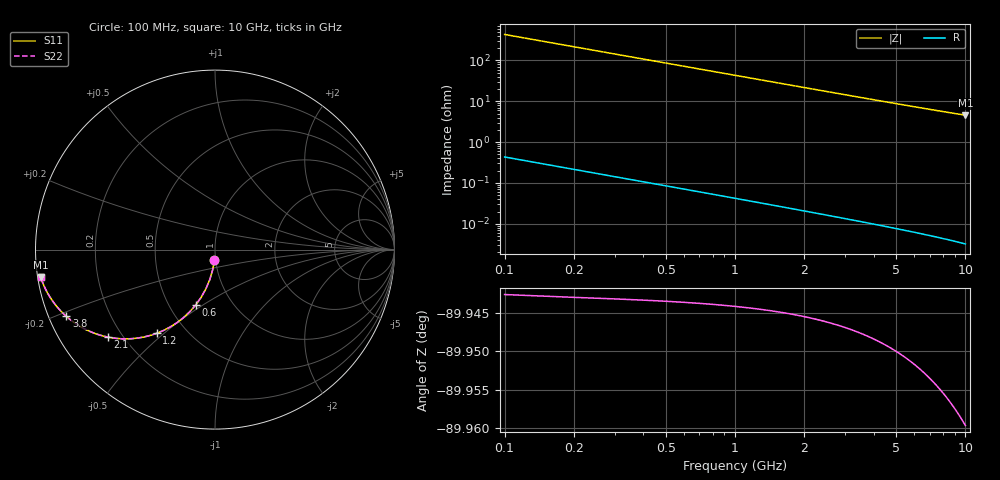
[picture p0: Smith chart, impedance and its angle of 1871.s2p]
# Hz S RI R 50.00
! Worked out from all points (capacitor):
!   100 points, 100 MHz to 10 GHz, reference 50 ohm
!   read as one part in shunt: C = 3.68 pF near 100 MHz
!   lowest |Z| = 4.57 ohm at 10 GHz (marker M1)
!   S11 on the Smith chart (normalised r, x): 100 MHz: 0.99, -0.11; 600 MHz: 0.68, -0.47; 1.2 GHz: 0.34, -0.47; 2.1 GHz: 0.15, -0.35; 3.8 GHz: 0.05, -0.21; 10 GHz: 0.01, -0.08
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1e8  -0.00334 -0.0575  0.9966 -0.0577  0.9966 -0.0577  -0.00334 -0.0575
2e8  -0.0132 -0.1138  0.9867 -0.1143  0.9867 -0.1143  -0.0132 -0.1138
3e8  -0.0293 -0.1679  0.9706 -0.1686  0.9706 -0.1686  -0.0293 -0.1679
4e8  -0.0509 -0.2189  0.949 -0.2198  0.949 -0.2198  -0.0509 -0.2189
5e8  -0.0772 -0.266  0.9226 -0.2672  0.9226 -0.2672  -0.0772 -0.266
6e8  -0.1075 -0.3086  0.8924 -0.3101  0.8924 -0.3101  -0.1075 -0.3086
7e8  -0.1408 -0.3466  0.859 -0.3482  0.859 -0.3482  -0.1408 -0.3466
9e8  -0.2131 -0.408  0.7868 -0.4101  0.7868 -0.4101  -0.2131 -0.408
1.2e9  -0.3249 -0.4664  0.675 -0.4693  0.675 -0.4693  -0.3249 -0.4664
1.5e9  -0.4291 -0.4927  0.5708 -0.4962  0.5708 -0.4962  -0.4291 -0.4927
1.8e9  -0.5197 -0.497  0.4802 -0.5012  0.4802 -0.5012  -0.5197 -0.497
2.1e9  -0.5955 -0.4878  0.4043 -0.4928  0.4043 -0.4928  -0.5955 -0.4878
2.4e9  -0.6579 -0.471  0.342 -0.4767  0.342 -0.4767  -0.6579 -0.471
2.7e9  -0.7088 -0.4506  0.2911 -0.457  0.2911 -0.457  -0.7088 -0.4506
3e9  -0.7503 -0.4287  0.2496 -0.4359  0.2496 -0.4359  -0.7503 -0.4287
3.4e9  -0.7942 -0.3996  0.2056 -0.4078  0.2056 -0.4078  -0.7942 -0.3996
3.8e9  -0.8283 -0.372  0.1716 -0.3811  0.1716 -0.3811  -0.8283 -0.372
4.4e9  -0.8661 -0.3346  0.1337 -0.3452  0.1337 -0.3452  -0.8661 -0.3346
5.1e9  -0.8969 -0.2973  0.1029 -0.3095  0.1029 -0.3095  -0.8969 -0.2973
6.7e9  -0.9378 -0.2327  0.062 -0.2489  0.062 -0.2489  -0.9378 -0.2327
8.4e9  -0.9597 -0.1854  0.0399 -0.206  0.0399 -0.206  -0.9597 -0.1854
1e10  -0.9714 -0.153  0.0281 -0.1778  0.0281 -0.1778  -0.9714 -0.153
